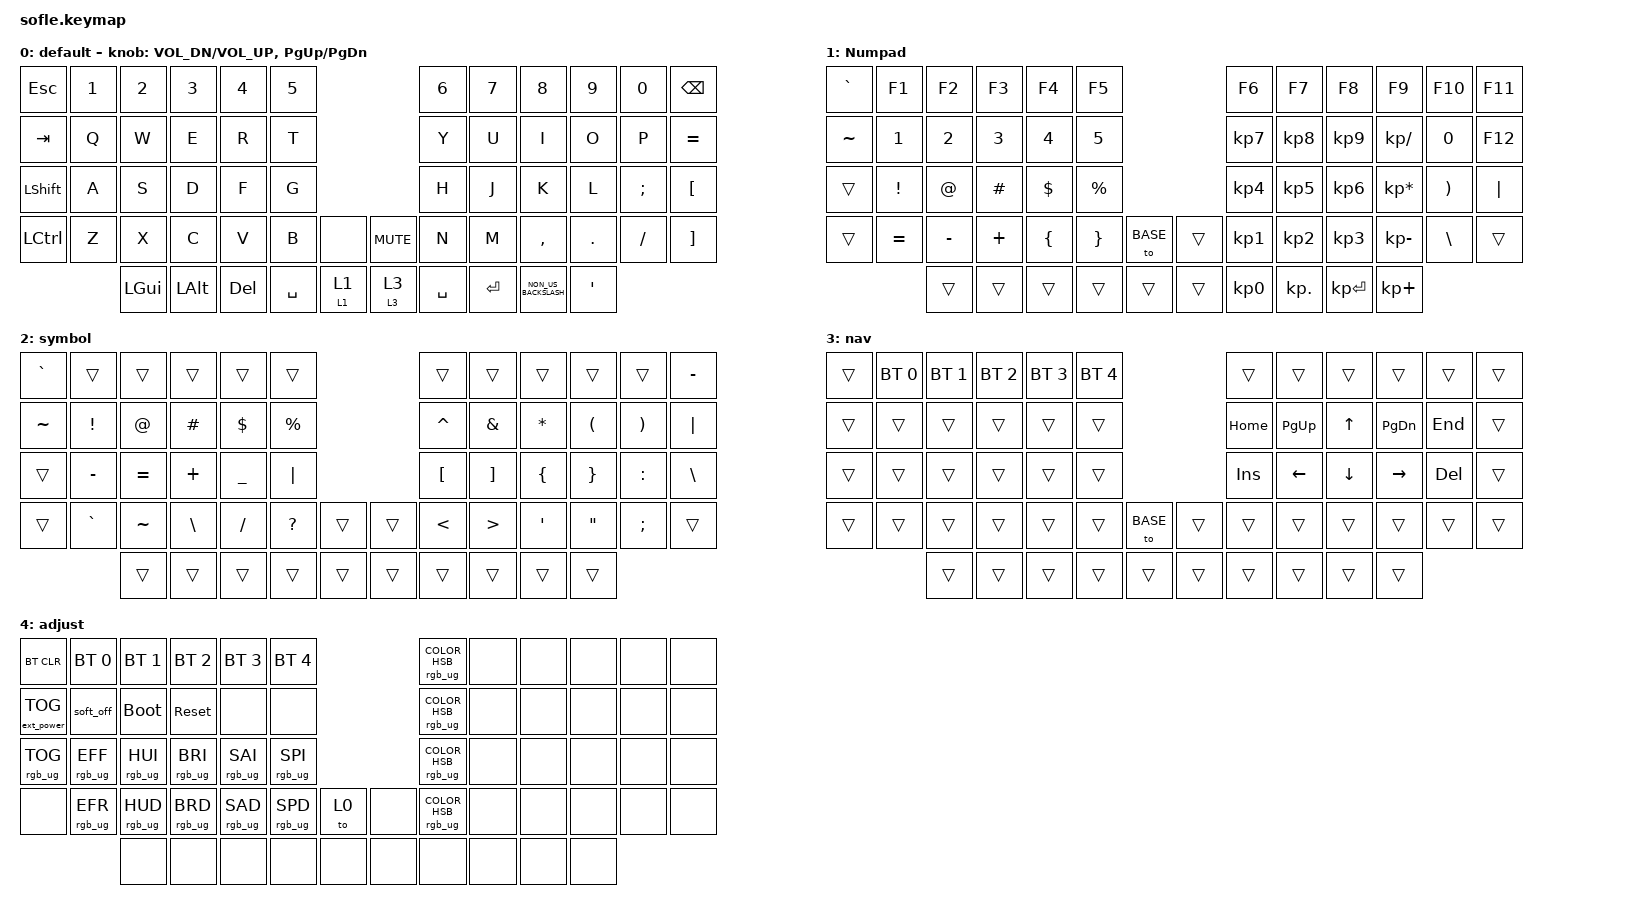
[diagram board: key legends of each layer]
/*
 * Copyright (c) 2020 The ZMK Contributors
 *
 * SPDX-License-Identifier: MIT
 */

#include <behaviors.dtsi>
#include <dt-bindings/zmk/bt.h>
#include <dt-bindings/zmk/ext_power.h>
#include <dt-bindings/zmk/keys.h>
#include <dt-bindings/zmk/rgb.h>

#define BASE   0
#define NUMPAD 1
#define SYMBOL 2
#define NAV    3
#define ADJUST 4

/ {
    // Activate ADJUST layer by pressing raise and lower

    behaviors {
        ht_numpad: ht_numpad {
            compatible = "zmk,behavior-hold-tap";
            #binding-cells = <2>;
            flavor = "tap-preferred";
            tapping-term-ms = <220>;
            bindings = <&mo &tog>;
        };

        ht_nav: ht_nav {
            compatible = "zmk,behavior-hold-tap";
            #binding-cells = <2>;
            flavor = "tap-preferred";
            tapping-term-ms = <220>;
            bindings = <&mo &tog>;
        };
    };

    combos {
        compatible = "zmk,combos";

        sym_combo {
            timeout-ms = <50>;
            key-positions = <55 52>;
            bindings = <&mo SYMBOL>;
        };

        adjust_combo {
            timeout-ms = <50>;
            key-positions = <54 55>;
            bindings = <&mo ADJUST>;
        };

    };

    keymap {
        compatible = "zmk,keymap";

        default_layer {
            display-name = "default";
            bindings = <
&kp ESC         &kp NUMBER_1  &kp NUMBER_2  &kp NUMBER_3  &kp NUMBER_4  &kp N5                                    &kp N6     &kp N7     &kp N8                &kp N9   &kp N0    &kp BACKSPACE
&kp TAB         &kp Q         &kp W         &kp E         &kp R         &kp T                                     &kp Y      &kp U      &kp I                 &kp O    &kp P     &kp EQUAL
&kp LEFT_SHIFT  &kp A         &kp S         &kp D         &kp F         &kp G                                     &kp H      &kp J      &kp K                 &kp L    &kp SEMI  &kp LEFT_BRACKET
&kp LCTRL       &kp Z         &kp X         &kp C         &kp V         &kp B      &none             &kp C_MUTE        &kp N      &kp M      &kp COMMA             &kp DOT  &kp FSLH  &kp RIGHT_BRACKET
                              &kp LGUI      &kp LALT      &kp DELETE    &kp SPACE  &ht_numpad 1 1    &ht_nav 3 3  &kp SPACE  &kp ENTER  &kp NON_US_BACKSLASH  &kp SQT
            >;

            sensor-bindings =
                <&inc_dec_kp C_VOL_DN C_VOL_UP>,
                <&inc_dec_kp PG_UP PG_DN>;
        };

        numpad_layer {
            display-name = "Numpad";


            bindings = <
&kp GRAVE  &kp F1     &kp F2     &kp F3    &kp F4    &kp F5                       &kp F6     &kp F7      &kp F8        &kp F9           &kp F10   &kp F11
&kp TILDE  &kp N1     &kp N2     &kp N3    &kp N4    &kp N5                       &kp KP_N7  &kp KP_N8   &kp KP_N9     &kp KP_DIVIDE    &kp N0    &kp F12
&trans     &kp EXCL   &kp AT     &kp HASH  &kp DLLR  &kp PRCNT                    &kp KP_N4  &kp KP_N5   &kp KP_N6     &kp KP_MULTIPLY  &kp RPAR  &kp PIPE
&trans     &kp EQUAL  &kp MINUS  &kp PLUS  &kp LBRC  &kp RBRC   &to BASE     &trans  &kp KP_N1  &kp KP_N2   &kp KP_N3     &kp KP_MINUS     &kp BSLH  &trans
                      &trans     &trans    &trans    &trans     &trans    &trans  &kp KP_N0  &kp KP_DOT  &kp KP_ENTER  &kp KP_PLUS
            >;

        };

        symbol_layer {
            display-name = "symbol";
            bindings = <
&kp GRAVE  &trans     &trans     &trans    &trans    &trans                         &trans              &trans             &trans    &trans    &trans    &kp MINUS
&kp TILDE  &kp EXCL   &kp AT     &kp HASH  &kp DLLR  &kp PRCNT                      &kp CARET           &kp AMPS           &kp STAR  &kp LPAR  &kp RPAR  &kp PIPE
&trans     &kp MINUS  &kp EQUAL  &kp PLUS  &kp UNDER &kp PIPE                       &kp LEFT_BRACKET    &kp RIGHT_BRACKET  &kp LBRC  &kp RBRC  &kp COLON &kp BSLH
&trans     &kp GRAVE  &kp TILDE  &kp BSLH  &kp FSLH  &kp QMARK  &trans     &trans  &kp LT             &kp GT             &kp SQT   &kp DQT   &kp SEMI  &trans
                      &trans     &trans    &trans    &trans     &trans      &trans  &trans             &trans             &trans     &trans
            >;
        };

        nav_layer {
            display-name = "nav";
            bindings = <
&trans  &bt BT_SEL 0  &bt BT_SEL 1  &bt BT_SEL 2  &bt BT_SEL 3  &bt BT_SEL 4              &trans    &trans     &trans    &trans     &trans   &trans
&trans  &trans        &trans        &trans        &trans        &trans                    &kp HOME  &kp PG_UP  &kp UP    &kp PG_DN  &kp END  &trans
&trans  &trans  &trans  &trans  &trans  &trans                      &kp INS   &kp LEFT   &kp DOWN  &kp RIGHT  &kp DEL  &trans
&trans  &trans  &trans  &trans  &trans  &trans  &to BASE    &trans  &trans    &trans     &trans    &trans     &trans   &trans
                &trans  &trans  &trans  &trans  &trans      &trans  &trans    &trans     &trans    &trans
            >;
        };

        adjust_layer {
            display-name = "adjust";
            bindings = <
&bt BT_CLR         &bt BT_SEL 0     &bt BT_SEL 1     &bt BT_SEL 2     &bt BT_SEL 3     &bt BT_SEL 4                     &rgb_ug RGB_COLOR_HSB(59,40,57)   &none  &none  &none  &none  &none
&ext_power EP_TOG  &soft_off        &bootloader      &sys_reset       &none            &none                            &rgb_ug RGB_COLOR_HSB(128,89,30)  &none  &none  &none  &none  &none
&rgb_ug RGB_TOG    &rgb_ug RGB_EFF  &rgb_ug RGB_HUI  &rgb_ug RGB_BRI  &rgb_ug RGB_SAI  &rgb_ug RGB_SPI                  &rgb_ug RGB_COLOR_HSB(9,94,45)    &none  &none  &none  &none  &none
&none              &rgb_ug RGB_EFR  &rgb_ug RGB_HUD  &rgb_ug RGB_BRD  &rgb_ug RGB_SAD  &rgb_ug RGB_SPD  &to 0    &none  &rgb_ug RGB_COLOR_HSB(248,93,45)  &none  &none  &none  &none  &none
                                    &none            &none            &none            &none            &none    &none  &none                             &none  &none  &none
            >;
        };
    };
};
